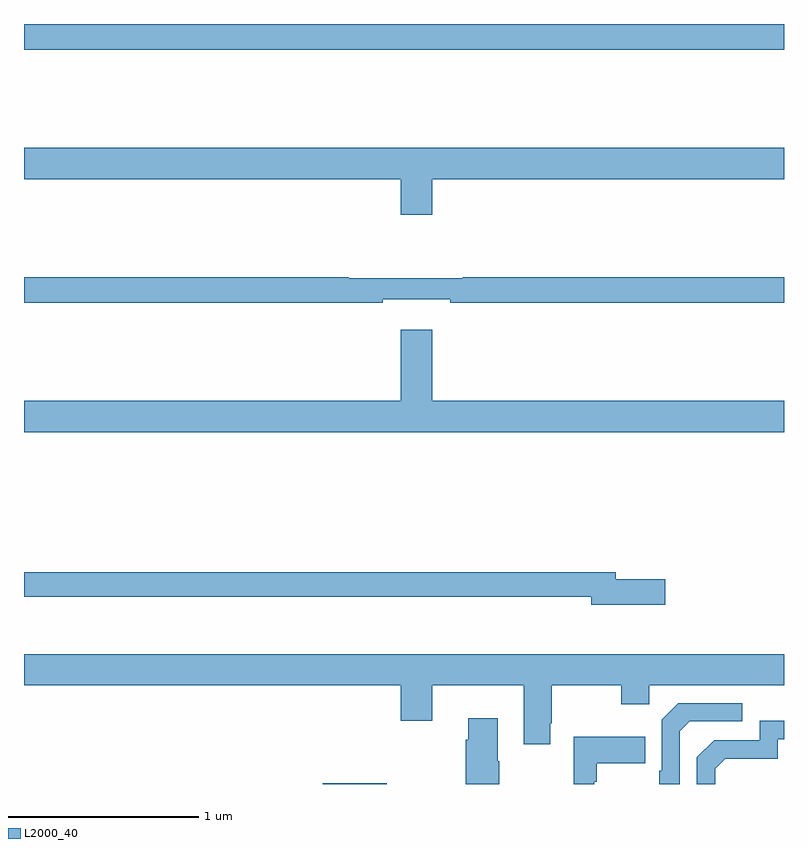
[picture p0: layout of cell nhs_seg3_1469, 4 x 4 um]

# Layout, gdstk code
import gdstk
lib = gdstk.Library(unit=1e-6, precision=1e-09)
def R(c, l, rs):  # rectangles x0, y0, x1, y1
    for r in rs: c.add(gdstk.rectangle(r[:2], r[2:], *l))
def P(c, l, *ps):  # polygons
    for p in ps: c.add(gdstk.Polygon(p, *l))
L2000_40 = (2000, 40)

nhs_seg3_1469 = lib.new_cell('nhs_seg3_1469')
R(nhs_seg3_1469, L2000_40, [(188.573,696.4,188.908,696.404), (187,700.264,191,700.4)])
P(nhs_seg3_1469, L2000_40, [(189.148,699.584),(191,699.584),(191,699.748),(187,699.748),(187,699.584),(188.984,699.584),(188.984,699.396),(189.148,699.396)],
  [(188.888,698.951),(189.244,698.951),(189.244,698.932),(191,698.932),(191,699.068),(189.308,699.068),(189.308,699.061),(188.708,699.061),(188.708,699.068),(187,699.068),(187,698.932),(188.888,698.932)],
  [(191,698.416),(189.148,698.416),(189.148,698.791),(188.984,698.791),(188.984,698.416),(187,698.416),(187,698.252),(191,698.252)],
  [(190.375,697.478),(190.114,697.478),(190.114,697.514),(187,697.514),(187,697.386),(189.986,697.386),(189.986,697.343),(190.375,697.343)],
  [(189.769,696.721),(189.777,696.721),(189.777,696.92),(190.144,696.92),(190.144,696.821),(190.29,696.821),(190.29,696.92),(191,696.92),(191,697.084),(187,697.084),(187,696.92),(188.984,696.92),(188.984,696.732),(189.148,696.732),(189.148,696.92),(189.629,696.92),(189.629,696.609),(189.769,696.609)],
  [(190.452,696.678),(190.503,696.729),(190.78,696.729),(190.78,696.825),(190.443,696.825),(190.356,696.738),(190.356,696.469),(190.344,696.469),(190.344,696.4),(190.452,696.4)],
  [(189.501,696.521),(189.493,696.521),(189.493,696.745),(189.338,696.745),(189.338,696.632),(189.326,696.632),(189.326,696.4),(189.501,696.4)],
  [(190.638,696.48),(190.691,696.533),(190.968,696.533),(190.968,696.636),(191,696.636),(191,696.732),(190.872,696.732),(190.872,696.63),(190.632,696.63),(190.542,696.54),(190.542,696.4),(190.638,696.4)],
  [(190.002,696.413),(190.015,696.413),(190.015,696.509),(190.271,696.509),(190.271,696.649),(189.894,696.649),(189.894,696.4),(190.002,696.4)])

lib.write_gds('nhs_seg3_1469.gds')
